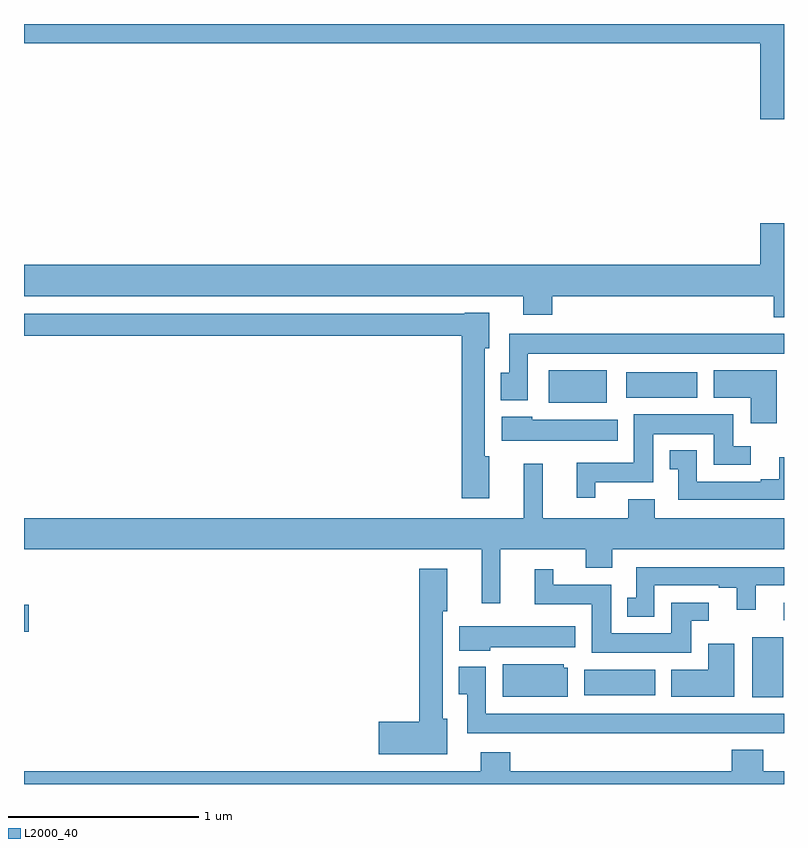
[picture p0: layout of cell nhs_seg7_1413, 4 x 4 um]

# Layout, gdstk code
import gdstk
lib = gdstk.Library(unit=1e-6, precision=1e-09)
def R(c, l, rs):  # rectangles x0, y0, x1, y1
    for r in rs: c.add(gdstk.rectangle(r[:2], r[2:], *l))
def P(c, l, *ps):  # polygons
    for p in ps: c.add(gdstk.Polygon(p, *l))
L2000_40 = (2000, 40)

nhs_seg7_1413 = lib.new_cell('nhs_seg7_1413')
R(nhs_seg7_1413, L2000_40, [(210.833,1046.456,210.997,1046.773), (209.949,1046.468,210.322,1046.602), (207,1046.801,207.025,1046.943), (210.999,1046.862,211,1046.955), (209.762,1048.007,210.067,1048.177), (210.171,1048.034,210.544,1048.168)])
P(nhs_seg7_1413, L2000_40, [(211,1050),(207,1050),(207,1049.9),(210.875,1049.9),(210.875,1049.499),(211,1049.499)],
  [(211,1048.951),(210.875,1048.951),(210.875,1048.732),(207,1048.732),(207,1048.568),(209.627,1048.568),(209.627,1048.469),(209.78,1048.469),(209.78,1048.568),(210.947,1048.568),(210.947,1048.457),(211,1048.457)],
  [(209.449,1047.726),(209.425,1047.726),(209.425,1048.293),(209.449,1048.293),(209.449,1048.48),(209.319,1048.48),(209.319,1048.476),(207,1048.476),(207,1048.36),(209.303,1048.36),(209.303,1047.504),(209.449,1047.504)],
  [(209.652,1048.265),(211,1048.265),(211,1048.369),(209.555,1048.369),(209.555,1048.164),(209.51,1048.164),(209.51,1048.02),(209.652,1048.02)],
  [(210.961,1048.177),(210.629,1048.177),(210.629,1048.034),(210.824,1048.034),(210.824,1047.9),(210.961,1047.9)],
  [(210.007,1047.587),(210.313,1047.587),(210.313,1047.842),(210.629,1047.842),(210.629,1047.681),(210.826,1047.681),(210.826,1047.777),(210.733,1047.777),(210.733,1047.946),(210.209,1047.946),(210.209,1047.691),(209.909,1047.691),(209.909,1047.507),(210.007,1047.507)],
  [(210.124,1047.916),(209.676,1047.916),(209.676,1047.934),(209.514,1047.934),(209.514,1047.806),(210.124,1047.806)],
  [(211,1047.721),(210.974,1047.721),(210.974,1047.603),(210.878,1047.603),(210.878,1047.591),(210.54,1047.591),(210.54,1047.757),(210.398,1047.757),(210.398,1047.657),(210.444,1047.657),(210.444,1047.495),(211,1047.495)],
  [(209.507,1047.236),(209.957,1047.236),(209.957,1047.137),(210.097,1047.137),(210.097,1047.236),(211,1047.236),(211,1047.4),(210.319,1047.4),(210.319,1047.499),(210.179,1047.499),(210.179,1047.4),(209.729,1047.4),(209.729,1047.685),(209.63,1047.685),(209.63,1047.4),(207,1047.4),(207,1047.236),(209.408,1047.236),(209.408,1046.952),(209.507,1046.952)],
  [(210.318,1047.045),(210.656,1047.045),(210.656,1047.033),(210.752,1047.033),(210.752,1046.916),(210.85,1046.916),(210.85,1047.045),(211,1047.045),(211,1047.141),(210.222,1047.141),(210.222,1046.979),(210.176,1046.979),(210.176,1046.879),(210.318,1046.879)],
  [(209.227,1046.343),(209.203,1046.343),(209.203,1046.91),(209.227,1046.91),(209.227,1047.133),(209.081,1047.133),(209.081,1046.327),(208.866,1046.327),(208.866,1046.156),(209.227,1046.156)],
  [(210.511,1046.859),(210.604,1046.859),(210.604,1046.955),(210.407,1046.955),(210.407,1046.794),(210.091,1046.794),(210.091,1047.049),(209.785,1047.049),(209.785,1047.13),(209.687,1047.13),(209.687,1046.945),(209.987,1046.945),(209.987,1046.69),(210.511,1046.69)],
  [(209.454,1046.72),(209.902,1046.72),(209.902,1046.83),(209.292,1046.83),(209.292,1046.702),(209.454,1046.702)],
  [(210.739,1046.737),(210.602,1046.737),(210.602,1046.602),(210.407,1046.602),(210.407,1046.459),(210.739,1046.459)],
  [(209.863,1046.613),(209.841,1046.613),(209.841,1046.629),(209.519,1046.629),(209.519,1046.459),(209.863,1046.459)],
  [(211,1046.371),(209.43,1046.371),(209.43,1046.617),(209.288,1046.617),(209.288,1046.473),(209.333,1046.473),(209.333,1046.267),(211,1046.267)],
  [(211,1046.068),(210.89,1046.068),(210.89,1046.179),(210.725,1046.179),(210.725,1046.068),(209.558,1046.068),(209.558,1046.167),(209.405,1046.167),(209.405,1046.068),(207,1046.068),(207,1046),(211,1046)])

lib.write_gds('nhs_seg7_1413.gds')
